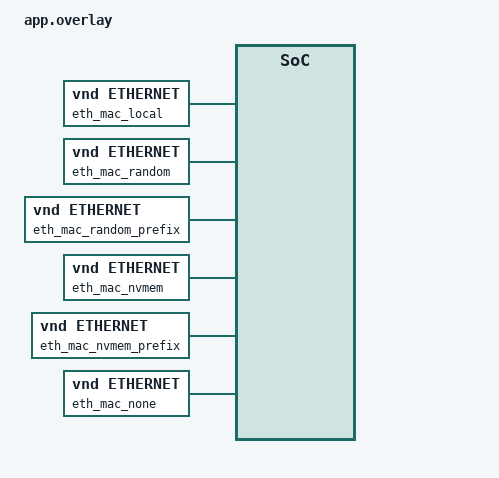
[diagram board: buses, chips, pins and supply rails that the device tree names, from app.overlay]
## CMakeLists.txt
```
# SPDX-License-Identifier: Apache-2.0

cmake_minimum_required(VERSION 3.28.0)
find_package(Zephyr REQUIRED HINTS $ENV{ZEPHYR_BASE})
project(eth_mac_config)

target_include_directories(app PRIVATE ${ZEPHYR_BASE}/drivers/ethernet)

FILE(GLOB app_sources src/*.c)
target_sources(app PRIVATE ${app_sources})
```

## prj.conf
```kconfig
CONFIG_ZTEST=y
CONFIG_NETWORKING=y
CONFIG_ETH_DRIVER=y
CONFIG_ETH_DRIVER_RAW_MODE=y
CONFIG_ENTROPY_GENERATOR=y
CONFIG_TEST_RANDOM_GENERATOR=y
CONFIG_NVMEM=y
CONFIG_EEPROM=y

# Disable L2
CONFIG_NET_L2_ETHERNET=n
```

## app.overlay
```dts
/*
 * Copyright (c) 2025 Basalte bv
 * SPDX-License-Identifier: Apache-2.0
 */

/ {
	eth_mac_local: eth-mac-local {
		compatible = "vnd,ethernet";
		local-mac-address = [00 01 02 03 04 05];
	};

	eth_mac_random: eth-mac-random {
		compatible = "vnd,ethernet";
		/* local-mac-address is ignored if random is enabled */
		local-mac-address = [00 01 02 03 04 05];
		zephyr,random-mac-address;
	};

	eth_mac_random_prefix: eth-mac-random-prefix {
		compatible = "vnd,ethernet";
		zephyr,mac-address-prefix = [00 22 44];
		zephyr,random-mac-address;
	};

	eth_mac_nvmem: eth-mac-nvmem {
		compatible = "vnd,ethernet";
		nvmem-cells = <&cell0>;
		nvmem-cell-names = "mac-address";
	};

	eth_mac_nvmem_prefix: eth-mac-nvmem-prefix {
		compatible = "vnd,ethernet";
		nvmem-cells = <&cell6>;
		nvmem-cell-names = "mac-address";
		zephyr,mac-address-prefix = [00 33 66];
	};

	eth_mac_none: eth-mac-none {
		compatible = "vnd,ethernet";
	};
};

&eeprom0 {
	nvmem-layout {
		compatible = "fixed-layout";
		#address-cells = <1>;
		#size-cells = <1>;

		cell0: cell@0 {
			reg = <0x0 0x6>;
			#nvmem-cell-cells = <0>;
		};

		cell6: cell@6 {
			reg = <0x6 0x3>;
			#nvmem-cell-cells = <0>;
		};
	};
};
```

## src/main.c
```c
/*
 * Copyright (c) 2025 Basalte bv
 *
 * SPDX-License-Identifier: Apache-2.0
 */

#include <zephyr/ztest.h>
#include <zephyr/device.h>
#include <zephyr/devicetree.h>
#include <zephyr/kernel.h>
#include <zephyr/net/ethernet.h>

#include "eth_test_priv.h"

ZTEST(ethernet_mac_config, test_eth_mac_local)
{
	const struct device *dev = DEVICE_DT_GET(DT_NODELABEL(eth_mac_local));
	const struct vnd_ethernet_config *cfg = dev->config;
	struct vnd_ethernet_data *data = dev->data;
	const uint8_t addr[NET_ETH_ADDR_LEN] = {0x00, 0x01, 0x02, 0x03, 0x04, 0x05};

	zexpect_equal(data->mac_addr_load_result, 0);
	zexpect_equal(cfg->mcfg.type, NET_ETH_MAC_STATIC);
	zexpect_equal(cfg->mcfg.addr_len, NET_ETH_ADDR_LEN);
	zexpect_mem_equal(cfg->mcfg.addr, addr, NET_ETH_ADDR_LEN);
	zexpect_mem_equal(data->mac_addr, addr, NET_ETH_ADDR_LEN);
}

ZTEST(ethernet_mac_config, test_eth_mac_random)
{
	const struct device *dev = DEVICE_DT_GET(DT_NODELABEL(eth_mac_random));
	const struct vnd_ethernet_config *cfg = dev->config;
	struct vnd_ethernet_data *data = dev->data;

	zexpect_equal(data->mac_addr_load_result, 0);
	zexpect_equal(cfg->mcfg.type, NET_ETH_MAC_RANDOM);
	zexpect_equal(cfg->mcfg.addr_len, 0);
	zexpect_equal(data->mac_addr[0] & 0x02, 0x02, "Missing LAA bit");
	zexpect_equal(data->mac_addr[0] & 0x01, 0x00, "Erroneous I/G bit");
}

ZTEST(ethernet_mac_config, test_eth_mac_random_prefix)
{
	const struct device *dev = DEVICE_DT_GET(DT_NODELABEL(eth_mac_random_prefix));
	const struct vnd_ethernet_config *cfg = dev->config;
	struct vnd_ethernet_data *data = dev->data;
	uint8_t prefix[] = {0x00, 0x22, 0x44};

	zexpect_equal(data->mac_addr_load_result, 0);
	zexpect_equal(cfg->mcfg.type, NET_ETH_MAC_RANDOM);
	zexpect_equal(cfg->mcfg.addr_len, 3);
	zexpect_mem_equal(cfg->mcfg.addr, prefix, sizeof(prefix));

	/* NOTE: Prefix with LAA bit set */
	prefix[0] |= 0x02;
	zexpect_mem_equal(data->mac_addr, prefix, sizeof(prefix));
}

ZTEST(ethernet_mac_config, test_eth_mac_nvmem)
{
	const struct device *dev = DEVICE_DT_GET(DT_NODELABEL(eth_mac_nvmem));
	const struct vnd_ethernet_config *cfg = dev->config;
	struct vnd_ethernet_data *data = dev->data;

	zexpect_equal(data->mac_addr_load_result, 0);
	zexpect_equal(cfg->mcfg.type, NET_ETH_MAC_NVMEM);
	zexpect_equal(cfg->mcfg.addr_len, 0);

	zexpect_equal_ptr(cfg->mcfg.cell.dev, DEVICE_DT_GET(DT_NODELABEL(eeprom0)));
	zexpect_equal(cfg->mcfg.cell.offset, DT_REG_ADDR(DT_NODELABEL(cell0)));
	zexpect_equal(cfg->mcfg.cell.size, DT_REG_SIZE(DT_NODELABEL(cell0)));
}

ZTEST(ethernet_mac_config, test_eth_mac_nvmem_prefix)
{
	const struct device *dev = DEVICE_DT_GET(DT_NODELABEL(eth_mac_nvmem_prefix));
	const struct vnd_ethernet_config *cfg = dev->config;
	struct vnd_ethernet_data *data = dev->data;
	uint8_t prefix[] = {0x00, 0x33, 0x66};

	zexpect_equal(data->mac_addr_load_result, 0);
	zexpect_equal(cfg->mcfg.type, NET_ETH_MAC_NVMEM);
	zexpect_equal(cfg->mcfg.addr_len, 3);
	zexpect_mem_equal(cfg->mcfg.addr, prefix, sizeof(prefix));

	/* NOTE: No LAA bit set in this case */
	zexpect_mem_equal(data->mac_addr, prefix, sizeof(prefix));

	zexpect_equal_ptr(cfg->mcfg.cell.dev, DEVICE_DT_GET(DT_NODELABEL(eeprom0)));
	zexpect_equal(cfg->mcfg.cell.offset, DT_REG_ADDR(DT_NODELABEL(cell6)));
	zexpect_equal(cfg->mcfg.cell.size, DT_REG_SIZE(DT_NODELABEL(cell6)));
}

ZTEST(ethernet_mac_config, test_eth_mac_none)
{
	const struct device *dev = DEVICE_DT_GET(DT_NODELABEL(eth_mac_none));
	const struct vnd_ethernet_config *cfg = dev->config;
	struct vnd_ethernet_data *data = dev->data;

	zexpect_equal(data->mac_addr_load_result, -ENODATA);
	zexpect_equal(cfg->mcfg.type, NET_ETH_MAC_DEFAULT);
	zexpect_equal(cfg->mcfg.addr_len, 0);
}

ZTEST_SUITE(ethernet_mac_config, NULL, NULL, NULL, NULL, NULL);
```
